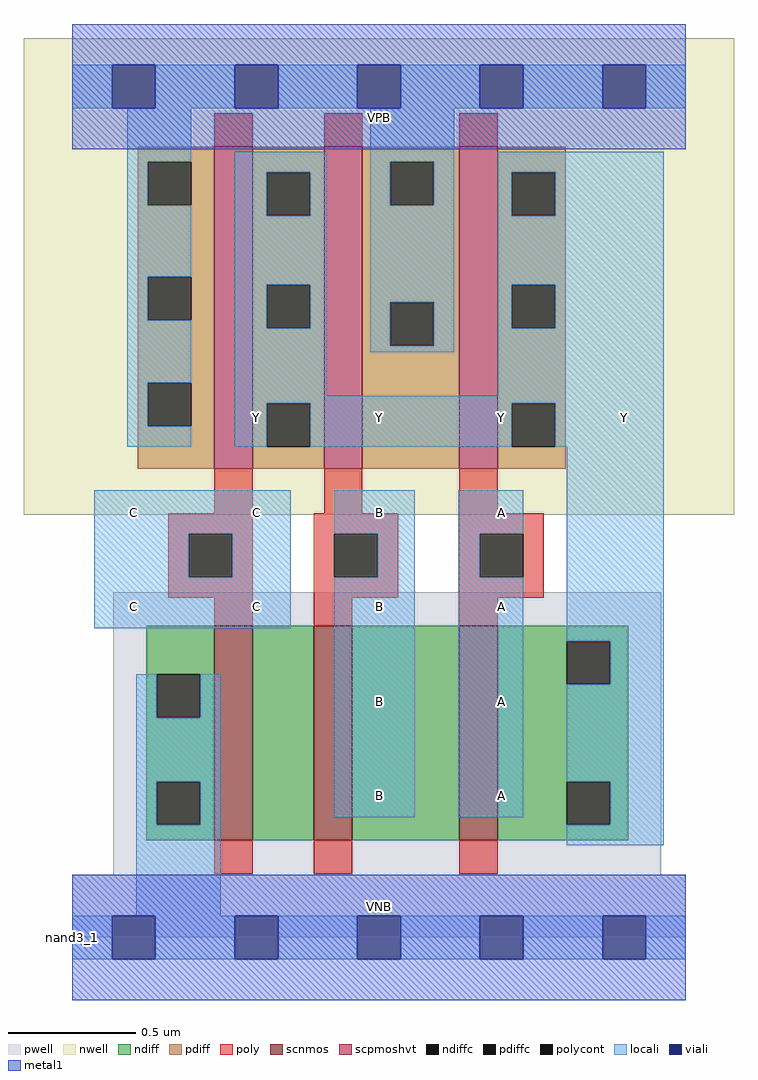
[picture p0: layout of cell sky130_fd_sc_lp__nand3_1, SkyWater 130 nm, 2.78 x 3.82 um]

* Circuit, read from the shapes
.subckt sky130_fd_sc_lp__nand3_1 A B C VGND VNB VPB VPWR Y
XM1 n1 C VGND VNB sky130_fd_pr__nfet_01v8 w=0.84 l=0.15
XM2 n2 B n1 VNB sky130_fd_pr__nfet_01v8 w=0.84 l=0.15
XM3 Y A n2 VNB sky130_fd_pr__nfet_01v8 w=0.84 l=0.15
XM4 Y C VPWR VPB sky130_fd_pr__pfet_01v8_hvt w=1.26 l=0.15
XM5 VPWR B Y VPB sky130_fd_pr__pfet_01v8_hvt w=1.26 l=0.15
XM6 Y A VPWR VPB sky130_fd_pr__pfet_01v8_hvt w=1.26 l=0.15
.ends

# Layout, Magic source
magic
tech sky130A
magscale 1 2
<< nwell >>
rect -38 331 518 704
<< pwell >>
rect 32 49 461 270
rect 0 0 480 49
<< scnmos >>
rect 111 76 141 244
rect 189 76 219 244
rect 303 76 333 244
<< scpmoshvt >>
rect 111 367 141 619
rect 197 367 227 619
rect 303 367 333 619
<< ndiff >>
rect 58 206 111 244
rect 58 172 66 206
rect 100 172 111 206
rect 58 122 111 172
rect 58 88 66 122
rect 100 88 111 122
rect 58 76 111 88
rect 141 76 189 244
rect 219 76 303 244
rect 333 232 435 244
rect 333 198 387 232
rect 421 198 435 232
rect 333 122 435 198
rect 333 88 387 122
rect 421 88 435 122
rect 333 76 435 88
<< pdiff >>
rect 51 607 111 619
rect 51 573 59 607
rect 93 573 111 607
rect 51 517 111 573
rect 51 483 59 517
rect 93 483 111 517
rect 51 434 111 483
rect 51 400 59 434
rect 93 400 111 434
rect 51 367 111 400
rect 141 599 197 619
rect 141 565 152 599
rect 186 565 197 599
rect 141 511 197 565
rect 141 477 152 511
rect 186 477 197 511
rect 141 418 197 477
rect 141 384 152 418
rect 186 384 197 418
rect 141 367 197 384
rect 227 607 303 619
rect 227 573 249 607
rect 283 573 303 607
rect 227 497 303 573
rect 227 463 249 497
rect 283 463 303 497
rect 227 367 303 463
rect 333 599 386 619
rect 333 565 344 599
rect 378 565 386 599
rect 333 511 386 565
rect 333 477 344 511
rect 378 477 386 511
rect 333 418 386 477
rect 333 384 344 418
rect 378 384 386 418
rect 333 367 386 384
<< ndiffc >>
rect 66 172 100 206
rect 66 88 100 122
rect 387 198 421 232
rect 387 88 421 122
<< pdiffc >>
rect 59 573 93 607
rect 59 483 93 517
rect 59 400 93 434
rect 152 565 186 599
rect 152 477 186 511
rect 152 384 186 418
rect 249 573 283 607
rect 249 463 283 497
rect 344 565 378 599
rect 344 477 378 511
rect 344 384 378 418
<< poly >>
rect 111 619 141 645
rect 197 619 227 645
rect 303 619 333 645
rect 111 332 141 367
rect 197 332 227 367
rect 303 332 333 367
rect 75 316 141 332
rect 75 282 91 316
rect 125 282 141 316
rect 75 266 141 282
rect 111 244 141 266
rect 189 316 255 332
rect 189 282 205 316
rect 239 282 255 316
rect 189 266 255 282
rect 303 316 369 332
rect 303 282 319 316
rect 353 282 369 316
rect 303 266 369 282
rect 189 244 219 266
rect 303 244 333 266
rect 111 50 141 76
rect 189 50 219 76
rect 303 50 333 76
<< polycont >>
rect 91 282 125 316
rect 205 282 239 316
rect 319 282 353 316
<< locali >>
rect 0 649 31 683
rect 65 649 127 683
rect 161 649 223 683
rect 257 649 319 683
rect 353 649 415 683
rect 449 649 480 683
rect 43 607 93 649
rect 43 573 59 607
rect 43 517 93 573
rect 43 483 59 517
rect 43 434 93 483
rect 43 400 59 434
rect 43 384 93 400
rect 127 599 199 615
rect 127 565 152 599
rect 186 565 199 599
rect 127 511 199 565
rect 127 477 152 511
rect 186 477 199 511
rect 127 424 199 477
rect 233 607 299 649
rect 233 573 249 607
rect 283 573 299 607
rect 233 497 299 573
rect 233 463 249 497
rect 283 463 299 497
rect 233 458 299 463
rect 333 599 463 615
rect 333 565 344 599
rect 378 565 463 599
rect 333 511 463 565
rect 333 477 344 511
rect 378 477 463 511
rect 333 424 463 477
rect 127 418 463 424
rect 127 384 152 418
rect 186 384 344 418
rect 378 384 463 418
rect 17 316 171 350
rect 17 282 91 316
rect 125 282 171 316
rect 17 242 171 282
rect 205 316 268 350
rect 239 282 268 316
rect 50 172 66 206
rect 100 172 116 206
rect 50 122 116 172
rect 50 88 66 122
rect 100 88 116 122
rect 205 94 268 282
rect 302 316 353 350
rect 302 282 319 316
rect 302 94 353 282
rect 387 232 463 384
rect 421 198 463 232
rect 387 122 463 198
rect 50 17 116 88
rect 421 88 463 122
rect 387 72 463 88
rect 0 -17 31 17
rect 65 -17 127 17
rect 161 -17 223 17
rect 257 -17 319 17
rect 353 -17 415 17
rect 449 -17 480 17
<< viali >>
rect 31 649 65 683
rect 127 649 161 683
rect 223 649 257 683
rect 319 649 353 683
rect 415 649 449 683
rect 31 -17 65 17
rect 127 -17 161 17
rect 223 -17 257 17
rect 319 -17 353 17
rect 415 -17 449 17
<< metal1 >>
rect 0 683 480 715
rect 0 649 31 683
rect 65 649 127 683
rect 161 649 223 683
rect 257 649 319 683
rect 353 649 415 683
rect 449 649 480 683
rect 0 617 480 649
rect 0 17 480 49
rect 0 -17 31 17
rect 65 -17 127 17
rect 161 -17 223 17
rect 257 -17 319 17
rect 353 -17 415 17
rect 449 -17 480 17
rect 0 -49 480 -17
<< labels >>
flabel pwell s 0 0 480 49 0 FreeSans 200 0 0 0 VNB
port 5 nsew ground bidirectional
flabel nwell s 0 617 480 666 0 FreeSans 200 0 0 0 VPB
port 6 nsew power bidirectional
rlabel comment s 0 0 0 0 4 nand3_1
flabel metal1 s 0 617 480 666 0 FreeSans 340 0 0 0 VPWR
port 7 nsew power bidirectional
flabel metal1 s 0 0 480 49 0 FreeSans 340 0 0 0 VGND
port 4 nsew ground bidirectional
flabel locali s 319 94 353 128 0 FreeSans 340 0 0 0 A
port 1 nsew signal input
flabel locali s 319 168 353 202 0 FreeSans 340 0 0 0 A
port 1 nsew signal input
flabel locali s 319 242 353 276 0 FreeSans 340 0 0 0 A
port 1 nsew signal input
flabel locali s 319 316 353 350 0 FreeSans 340 0 0 0 A
port 1 nsew signal input
flabel locali s 223 94 257 128 0 FreeSans 340 0 0 0 B
port 2 nsew signal input
flabel locali s 223 168 257 202 0 FreeSans 340 0 0 0 B
port 2 nsew signal input
flabel locali s 223 242 257 276 0 FreeSans 340 0 0 0 B
port 2 nsew signal input
flabel locali s 223 316 257 350 0 FreeSans 340 0 0 0 B
port 2 nsew signal input
flabel locali s 127 390 161 424 0 FreeSans 340 0 0 0 Y
port 8 nsew signal output
flabel locali s 223 390 257 424 0 FreeSans 340 0 0 0 Y
port 8 nsew signal output
flabel locali s 319 390 353 424 0 FreeSans 340 0 0 0 Y
port 8 nsew signal output
flabel locali s 415 390 449 424 0 FreeSans 340 0 0 0 Y
port 8 nsew signal output
flabel locali s 31 242 65 276 0 FreeSans 340 0 0 0 C
port 3 nsew signal input
flabel locali s 31 316 65 350 0 FreeSans 340 0 0 0 C
port 3 nsew signal input
flabel locali s 127 242 161 276 0 FreeSans 340 0 0 0 C
port 3 nsew signal input
flabel locali s 127 316 161 350 0 FreeSans 340 0 0 0 C
port 3 nsew signal input
<< properties >>
string LEFsite unit
string LEFclass CORE
string FIXED_BBOX 0 0 480 666
string GDS_FILE $PDKPATH/libs.ref/sky130_fd_sc_lp/gds/sky130_fd_sc_lp.gds
string LEFsymmetry X Y R90
string GDS_END 394880
string GDS_START 388914
<< end >>
